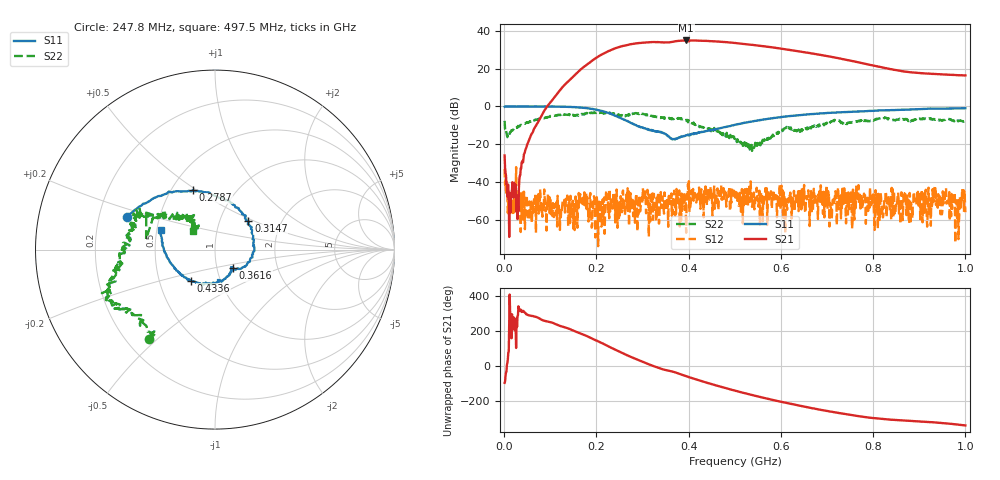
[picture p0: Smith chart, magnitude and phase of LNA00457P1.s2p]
! Created with skrf 1.9.0 (http://scikit-rf.org).
# Hz S RI R 50.0
!freq ReS11 ImS11 ReS21 ImS21 ReS12 ImS12 ReS22 ImS22
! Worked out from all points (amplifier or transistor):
!   1001 points, 1 MHz to 1 GHz, reference 50 ohm
!   highest |S21| = 35.0 dB at 394.6 MHz (marker M1)
!   |S21| within 3 dB of that: 256.3 MHz to 560.7 MHz (304.5 MHz wide, 74.5 % of centre)
!   unconditionally stable (mu >= 1): start of sweep to 57.84 MHz; 237.8 MHz to 300.7 MHz; 300.8 MHz to end of sweep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
!   at 166.8 MHz: K = 2.06, MAG = 29.5 dB, |S12| = -50.9 dB
!   at 500.5 MHz: K = 1.82, MAG = 34.4 dB, |S12| = -45.7 dB
!   at 1 GHz: K = 7.72, MAG = 24.4 dB, |S12| = -56.0 dB
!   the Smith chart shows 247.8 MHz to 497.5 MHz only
!   S11 on the Smith chart (normalised r, x): 247.8 MHz: 0.32, +0.16; 278.7 MHz: 0.64, +0.48; 314.7 MHz: 1.37, +0.46; 361.6 MHz: 1.19, -0.25; 433.6 MHz: 0.72, -0.26; 497.5 MHz: 0.53, +0.13
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1000000  0.983 0.00365  -0.00663 -0.0501  -0.0221 -0.00323  0.2857 0.3036
1.08892e8  0.5331 -0.8392  -0.8117 -1.543  0.00217 0.00107  0.4275 -0.3699
1.67833e8  -0.2125 -0.9037  -9.979 -0.6015  0.000833 -0.00358  0.0463 -0.634
2.11789e8  -0.665 -0.3666  -15.41 18.24  0.000691 0.00026  -0.206 -0.6453
2.29771e8  -0.6447 -0.0645  -8.963 29.18  4.58e-06 0.00166  -0.2791 -0.5816
2.47753e8  -0.4914 0.1794  3.859 36.97  0.00137 -0.00166  -0.3683 -0.4988
2.78722e8  -0.1217 0.3306  31.14 32.85  -0.002 0.0027  -0.5729 -0.312
3.14686e8  0.1861 0.1579  49.73 6.162  0.000437 0.00458  -0.5316 -0.1118
3.34666e8  0.2192 -0.00842  49.47 -10.47  -0.000176 0.00506  -0.5181 -0.0403
3.61639e8  0.0992 -0.1022  43.54 -25.81  -0.00229 0.00219  -0.4567 0.1117
3.75625e8  0.0896 -0.1115  40.23 -36.46  0.00325 0.00311  -0.4339 0.2033
3.94606e8  0.0534 -0.1623  28.57 -48.18  0.000342 0.000299  -0.3962 0.1821
4.33567e8  -0.133 -0.1739  -1.867 -54.43  0.00313 0.00482  -0.2083 0.1745
4.64536e8  -0.2504 -0.0716  -23.27 -47.04  0.00169 0.000666  -0.1438 0.157
4.97503e8  -0.3016 0.109  -37.06 -30.95  0.00684 -0.00123  -0.1238 0.1053
5.005e8  -0.3054 0.1212  -38.29 -29.33  0.00241 0.00461  -0.1047 0.1034
5.4046e8  -0.2365 0.3317  -41.64 -7.855  0.0031 -0.00194  -0.0836 -0.00173
5.88412e8  -0.042 0.4998  -33.67 11.87  0.00334 -0.000988  -0.1617 -0.0787
6.67333e8  0.3344 0.5358  -11.51 22.4  0.000699 -0.00506  -0.2859 -0.0264
7.46254e8  0.6013 0.3835  2.826 16.45  -0.00445 0.00287  -0.3589 0.0845
8.34166e8  0.7822 0.1515  6.09 7.885  -0.00211 0.00334  -0.4086 0.2457
1e9  0.8111 -0.3935  6.325 2.076  -0.00158 2.99e-07  -0.03 0.3972
